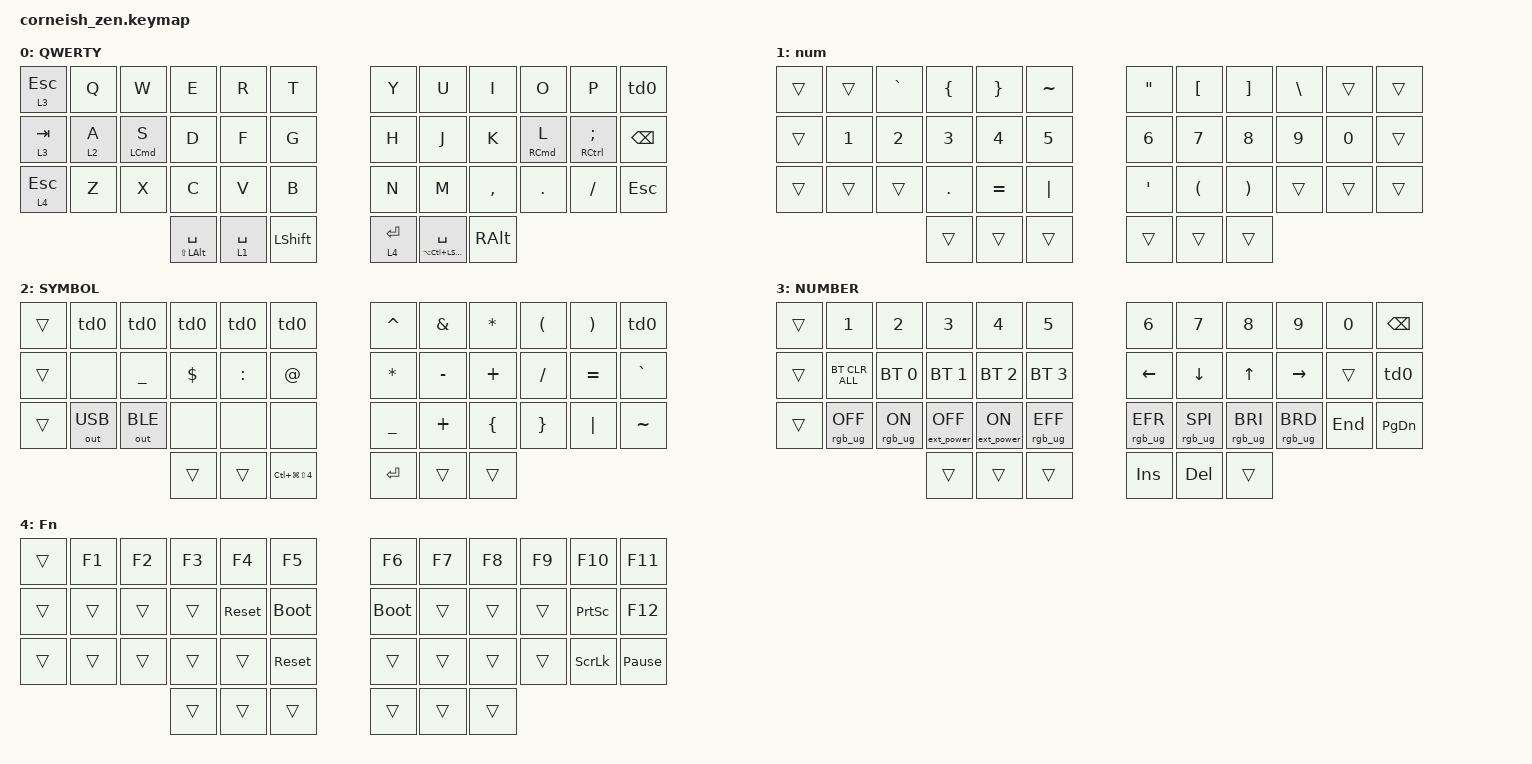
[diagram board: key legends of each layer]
/*
 * Copyright (c) 2020 The ZMK Contributors
 *
 * SPDX-License-Identifier: MIT
 */

#include <behaviors.dtsi>
#include <dt-bindings/zmk/bt.h>
#include <dt-bindings/zmk/ext_power.h>
#include <dt-bindings/zmk/keys.h>
#include <dt-bindings/zmk/outputs.h>
#include <dt-bindings/zmk/rgb.h>

&mt { flavor = "balanced"; };

/ {
    chosen {
        zmk,matrix_transform = &default_transform;

        // zmk,matrix_transform = &five_column_transform;
    };
};

/ {
    behaviors {
        td0: td0 {
            compatible = "zmk,behavior-tap-dance";
            label = "TD0";
            #binding-cells = <0>;
            bindings = <&kp LEFT_SHIFT>, <&kp CAPS>;
        };
    };

    keymap {
        compatible = "zmk,keymap";

        default_layer {
            display-name = "QWERTY";

            // --------------------------------------------------------------------------------
            // |  TAB |  Q  |  W  |  E  |  R  |  T  |   |  Y  |  U   |  I  |  O  |  P  | BKSP |
            // | CTRL |  A  |  S  |  D  |  F  |  G  |   |  H  |  J   |  K  |  L  |  ;  |  '   | 
            // | SHFT |  Z  |  X  |  C  |  V  |  B  |   |  N  |  M   |  ,  |  .  |  /  | ESC  |
            //                    | GUI | LWR | SPC |   | ENT | RSE  | ALT |

            bindings = <
&lt 3 ESC  &kp Q    &kp W               &kp E                   &kp R        &kp T             &kp Y        &kp U                         &kp I      &kp O                &kp P                   &td0
&lt 3 TAB  &lt 2 A  &mt LEFT_COMMAND S  &kp D                   &kp F        &kp G             &kp H        &kp J                         &kp K      &mt RIGHT_COMMAND L  &mt RIGHT_CONTROL SEMI  &kp BACKSPACE
&lt 4 ESC  &kp Z    &kp X               &kp C                   &kp V        &kp B             &kp N        &kp M                         &kp COMMA  &kp DOT              &kp FSLH                &kp ESC
                                        &mt LS(LEFT_ALT) SPACE  &lt 1 SPACE  &kp LEFT_SHIFT    &lt 4 ENTER  &mt LA(LC(LEFT_SHIFT)) SPACE  &kp RALT
            >;
        };

        num {
            bindings = <
&trans  &trans        &kp GRAVE     &kp LEFT_BRACE  &kp RIGHT_BRACE  &kp TILDE       &kp DOUBLE_QUOTES  &kp LEFT_BRACKET      &kp RIGHT_BRACKET      &kp BACKSLASH  &trans        &trans
&trans  &kp NUMBER_1  &kp NUMBER_2  &kp NUMBER_3    &kp NUMBER_4     &kp NUMBER_5    &kp NUMBER_6       &kp NUMBER_7          &kp NUMBER_8           &kp NUMBER_9   &kp NUMBER_0  &trans
&trans  &trans        &trans        &kp PERIOD      &kp EQUAL        &kp PIPE        &kp SINGLE_QUOTE   &kp LEFT_PARENTHESIS  &kp RIGHT_PARENTHESIS  &trans         &trans        &trans
                                    &trans          &trans           &trans          &trans             &trans                &trans
            >;
        };

        action {
            display-name = "SYMBOL";

            // -----------------------------------------------------------------------------------------
            // |  TAB |  !  |  @  |  #  |  $  |  %  |   |  ^  |  &  |  *  |  (  |  )  | BKSP |
            // | CTRL |     |     |     |     |     |   |  -  |  =  |  [  |  ]  |  \  |  `   |
            // | SHFT |     |     |     |     |     |   |  _  |  +  |  {  |  }  | "|" |  ~   |
            //                    | GUI |     | SPC |   | ENT |     | ALT |

            bindings = <
&trans  &td0          &td0            &td0        &td0       &td0                        &kp CARET     &kp AMPS   &kp ASTRK  &kp LPAR   &kp RPAR   &td0
&trans  &none         &kp UNDERSCORE  &kp DOLLAR  &kp COLON  &kp AT                      &kp ASTERISK  &kp MINUS  &kp PLUS   &kp SLASH  &kp EQUAL  &kp GRAVE
&trans  &out OUT_USB  &out OUT_BLE    &none       &none      &none                       &kp UNDER     &kp PLUS   &kp LBRC   &kp RBRC   &kp PIPE   &kp TILDE
                                      &trans      &trans     &kp LC(LG(LS(NUMBER_4)))    &kp RET       &trans     &trans
            >;
        };

        settings {
            display-name = "NUMBER";

            // -----------------------------------------------------------------------------------------
            // |  TAB |  1  |  2  |  3  |  4  |  5  |   |  6  |  7  |  8  |  9  |  0  | BKSP |
            // | BTCLR| BT1 | BT2 | BT3 | BT4 | BT5 |   | LFT | DWN |  UP | RGT |     |      |
            // | SHFT |     |     |     |     |     |   |     |     |     |     |     |      |
            //                    | GUI |     | SPC |   | ENT |     | ALT |

            bindings = <
&trans  &kp N1           &kp N2          &kp N3             &kp N4            &kp N5             &kp N6           &kp N7           &kp N8           &kp N9           &kp N0   &kp BSPC
&trans  &bt BT_CLR_ALL   &bt BT_SEL 0    &bt BT_SEL 1       &bt BT_SEL 2      &bt BT_SEL 3       &kp LEFT         &kp DOWN         &kp UP           &kp RIGHT        &trans   &td0
&trans  &rgb_ug RGB_OFF  &rgb_ug RGB_ON  &ext_power EP_OFF  &ext_power EP_ON  &rgb_ug RGB_EFF    &rgb_ug RGB_EFR  &rgb_ug RGB_SPI  &rgb_ug RGB_BRI  &rgb_ug RGB_BRD  &kp END  &kp PG_DN
                                         &trans             &trans            &trans             &kp INS          &kp DEL          &trans
            >;
        };

        layer_3 {
            display-name = "Fn";
            bindings = <
&trans  &kp F1  &kp F2  &kp F3  &kp F4      &kp F5         &kp F6       &kp F7  &kp F8  &kp F9  &kp F10          &kp F11
&trans  &trans  &trans  &trans  &sys_reset  &bootloader    &bootloader  &trans  &trans  &trans  &kp PRINTSCREEN  &kp F12
&trans  &trans  &trans  &trans  &trans      &sys_reset     &trans       &trans  &trans  &trans  &kp SCROLLLOCK   &kp PAUSE_BREAK
                        &trans  &trans      &trans         &trans       &trans  &trans
            >;
        };
    };
};
